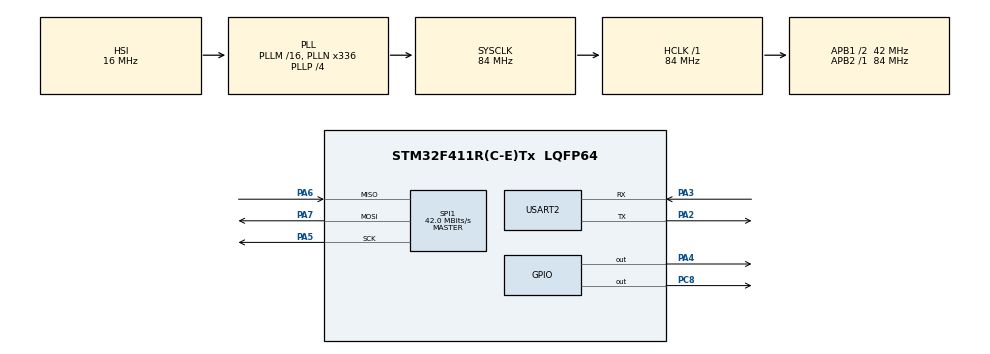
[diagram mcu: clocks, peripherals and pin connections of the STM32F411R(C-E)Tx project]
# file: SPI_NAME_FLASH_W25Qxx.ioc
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Mcu.Family=STM32F4
Mcu.Name=STM32F411R(C-E)Tx
Mcu.Package=LQFP64
NVIC.PriorityGroup=NVIC_PRIORITYGROUP_0
PA2.Mode=Asynchronous
PA2.Signal=USART2_TX
PA3.Mode=Asynchronous
PA3.Signal=USART2_RX
PA4.Signal=GPIO_Output
PA5.Mode=Full_Duplex_Master
PA5.Signal=SPI1_SCK
PA6.Mode=Full_Duplex_Master
PA6.Signal=SPI1_MISO
PA7.Mode=Full_Duplex_Master
PA7.Signal=SPI1_MOSI
PC14-OSC32_IN.Mode=LSE-External-Oscillator
PC14-OSC32_IN.Signal=RCC_OSC32_IN
PC15-OSC32_OUT.Mode=LSE-External-Oscillator
PC15-OSC32_OUT.Signal=RCC_OSC32_OUT
PC8.Signal=GPIO_Output
ProjectManager.HeapSize=0x200
ProjectManager.StackSize=0x400
ProjectManager.TargetToolchain=STM32CubeIDE
RCC.48MHZClocksFreq_Value=84000000
RCC.AHBFreq_Value=84000000
RCC.APB1CLKDivider=RCC_HCLK_DIV2
RCC.APB1Freq_Value=42000000
RCC.APB1TimFreq_Value=84000000
RCC.APB2Freq_Value=84000000
RCC.APB2TimFreq_Value=84000000
RCC.CortexFreq_Value=84000000
RCC.FLatency-AdvancedSettings=FLASH_LATENCY_2
RCC.HCLKFreq_Value=84000000
RCC.HSE_VALUE=8000000
RCC.HSI_VALUE=16000000
RCC.PLLN=336
RCC.PLLP=RCC_PLLP_DIV4
RCC.SYSCLKFreq_VALUE=84000000
RCC.SYSCLKSource=RCC_SYSCLKSOURCE_PLLCLK
RCC.VCOOutputFreq_Value=336000000
SPI1.CalculateBaudRate=42.0 MBits/s
SPI1.Direction=SPI_DIRECTION_2LINES
SPI1.Mode=SPI_MODE_MASTER
SPI1.VirtualType=VM_MASTER
USART2.VirtualMode=VM_ASYNC
board=NUCLEO-F411RE

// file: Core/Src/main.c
/* USER CODE BEGIN Header */
/**
 ******************************************************************************
 * @file           : main.c
 * @brief          : Main program body
 ******************************************************************************
 * @attention
 *
 * Copyright (c) 2023 STMicroelectronics.
 * All rights reserved.
 *
 * Published By : Sandesh Kale
 * Github       : github/JAGAHPEE
 *
 * This software is licensed under terms that can be found in the LICENSE file
 * in the root directory of this software component.
 * If no LICENSE file comes with this software, it is provided AS-IS.
 *
 ******************************************************************************
 */
/* USER CODE END Header */
#include "main.h"

/* USER CODE BEGIN Includes */
#include "w25qxx.h"
#include "string.h"
/* USER CODE END Includes */

SPI_HandleTypeDef hspi1;

UART_HandleTypeDef huart2;

/* USER CODE BEGIN PV */
uint8_t name[]  = "Sandesh Kale\n";
uint8_t str[20];
uint8_t buffer[20];
uint32_t length = 0;
/* USER CODE END PV */

void SystemClock_Config(void);
static void MX_GPIO_Init(void);
static void MX_SPI1_Init(void);
static void MX_USART2_UART_Init(void);

/* USER CODE BEGIN 0 */
uint8_t uart_check()
{
	uint8_t buff;
	HAL_UART_Transmit(&huart2, (uint8_t*)"\n\rReady: ", 8, 10);
	HAL_UART_Receive(&huart2, &buff, 1, 1000);
	if(buff == '1')
	{
		return 1;
	}
	return 0;
}
void uart_receive(uint8_t str[],uint8_t length)
{
	uint8_t buff[1],i=0;
	HAL_UART_Receive(&huart2, buff, 1, 5000);
	str[i] = buff[0];
	while((str[i]!='2')&&i<length-1&&(str[i]!=13))
	{
		HAL_UART_Receive(&huart2, buff, 1, 2000);
		str[++i] = buff[0];
	}
	if(i==0)
	{
		HAL_UART_Transmit(&huart2, (uint8_t*)"\n\rNo Data Received..\n\r",19 ,10);
		return;
	}
	str[i] = '\0';
	return;
}
uint32_t length_of_string(uint8_t str[])
{
	uint8_t i=0;
	while(str[i]!='\0')
	{
		i++;
	}
	return i;
}
/* USER CODE END 0 */

int main(void)
{

	/* MCU Configuration--------------------------------------------------------*/

	/* Reset of all peripherals, Initializes the Flash interface and the Systick. */
	HAL_Init();

	/* Configure the system clock */
	SystemClock_Config();

	/* Initialize all configured peripherals */
	MX_GPIO_Init();
	MX_SPI1_Init();
	MX_USART2_UART_Init();
	/* USER CODE BEGIN 2 */
	W25qxx_Init();
	W25qxx_EraseSector(0);
	//	W25qxx_WriteSector(name, 0, 0, sizeof(name));
	//	W25qxx_ReadSector(buffer,0, 0, sizeof(name));
	//	HAL_UART_Transmit(&huart2, buffer, sizeof(buffer),10);
	/* USER CODE END 2 */

	/* Infinite loop */
	while (1)
	{

		/* USER CODE BEGIN 3 */
		if(uart_check())
		{
			HAL_UART_Transmit(&huart2, (uint8_t*)"\n\rType: ", 7, 10);
			uart_receive(str,sizeof(str));
			//			length = strlen(str);
			length = length_of_string(str);
			W25qxx_EraseSector(0);
			W25qxx_WriteSector(str, 0, 0, length_of_string(str));
			W25qxx_ReadSector(buffer,0, 0, length_of_string(str));
			HAL_UART_Transmit(&huart2, (uint8_t*)"\n\rData Read from Flash: ", 24, 10);
			HAL_UART_Transmit(&huart2, buffer, length_of_string(buffer), 100);
			HAL_GPIO_TogglePin(GPIOC, GPIO_PIN_8);
		}
		HAL_Delay(1000);
	}
	/* USER CODE END 3 */
}

void SystemClock_Config(void)
{
	RCC_OscInitTypeDef RCC_OscInitStruct = {0};
	RCC_ClkInitTypeDef RCC_ClkInitStruct = {0};

	/** Configure the main internal regulator output voltage
	 */
	__HAL_RCC_PWR_CLK_ENABLE();
	__HAL_PWR_VOLTAGESCALING_CONFIG(PWR_REGULATOR_VOLTAGE_SCALE1);

	/** Initializes the RCC Oscillators according to the specified parameters
	 * in the RCC_OscInitTypeDef structure.
	 */
	RCC_OscInitStruct.OscillatorType = RCC_OSCILLATORTYPE_HSI;
	RCC_OscInitStruct.HSIState = RCC_HSI_ON;
	RCC_OscInitStruct.HSICalibrationValue = RCC_HSICALIBRATION_DEFAULT;
	RCC_OscInitStruct.PLL.PLLState = RCC_PLL_ON;
	RCC_OscInitStruct.PLL.PLLSource = RCC_PLLSOURCE_HSI;
	RCC_OscInitStruct.PLL.PLLM = 16;
	RCC_OscInitStruct.PLL.PLLN = 336;
	RCC_OscInitStruct.PLL.PLLP = RCC_PLLP_DIV4;
	RCC_OscInitStruct.PLL.PLLQ = 4;
	if (HAL_RCC_OscConfig(&RCC_OscInitStruct) != HAL_OK)
	{
		Error_Handler();
	}

	/** Initializes the CPU, AHB and APB buses clocks
	 */
	RCC_ClkInitStruct.ClockType = RCC_CLOCKTYPE_HCLK|RCC_CLOCKTYPE_SYSCLK
			|RCC_CLOCKTYPE_PCLK1|RCC_CLOCKTYPE_PCLK2;
	RCC_ClkInitStruct.SYSCLKSource = RCC_SYSCLKSOURCE_PLLCLK;
	RCC_ClkInitStruct.AHBCLKDivider = RCC_SYSCLK_DIV1;
	RCC_ClkInitStruct.APB1CLKDivider = RCC_HCLK_DIV2;
	RCC_ClkInitStruct.APB2CLKDivider = RCC_HCLK_DIV1;

	if (HAL_RCC_ClockConfig(&RCC_ClkInitStruct, FLASH_LATENCY_2) != HAL_OK)
	{
		Error_Handler();
	}
}

static void MX_SPI1_Init(void)
{

	/* SPI1 parameter configuration*/
	hspi1.Instance = SPI1;
	hspi1.Init.Mode = SPI_MODE_MASTER;
	hspi1.Init.Direction = SPI_DIRECTION_2LINES;
	hspi1.Init.DataSize = SPI_DATASIZE_8BIT;
	hspi1.Init.CLKPolarity = SPI_POLARITY_LOW;
	hspi1.Init.CLKPhase = SPI_PHASE_1EDGE;
	hspi1.Init.NSS = SPI_NSS_SOFT;
	hspi1.Init.BaudRatePrescaler = SPI_BAUDRATEPRESCALER_2;
	hspi1.Init.FirstBit = SPI_FIRSTBIT_MSB;
	hspi1.Init.TIMode = SPI_TIMODE_DISABLE;
	hspi1.Init.CRCCalculation = SPI_CRCCALCULATION_DISABLE;
	hspi1.Init.CRCPolynomial = 10;
	if (HAL_SPI_Init(&hspi1) != HAL_OK)
	{
		Error_Handler();
	}

}

static void MX_USART2_UART_Init(void)
{

	huart2.Instance = USART2;
	huart2.Init.BaudRate = 115200;
	huart2.Init.WordLength = UART_WORDLENGTH_8B;
	huart2.Init.StopBits = UART_STOPBITS_1;
	huart2.Init.Parity = UART_PARITY_NONE;
	huart2.Init.Mode = UART_MODE_TX_RX;
	huart2.Init.HwFlowCtl = UART_HWCONTROL_NONE;
	huart2.Init.OverSampling = UART_OVERSAMPLING_16;
	if (HAL_UART_Init(&huart2) != HAL_OK)
	{
		Error_Handler();
	}

}

static void MX_GPIO_Init(void)
{
	GPIO_InitTypeDef GPIO_InitStruct = {0};

	/* GPIO Ports Clock Enable */
	__HAL_RCC_GPIOC_CLK_ENABLE();
	__HAL_RCC_GPIOA_CLK_ENABLE();

	/*Configure GPIO pin Output Level */
	HAL_GPIO_WritePin(GPIOA, GPIO_PIN_4, GPIO_PIN_RESET);

	/*Configure GPIO pin Output Level */
	HAL_GPIO_WritePin(GPIOC, GPIO_PIN_8, GPIO_PIN_RESET);

	/*Configure GPIO pin : PA4 */
	GPIO_InitStruct.Pin = GPIO_PIN_4;
	GPIO_InitStruct.Mode = GPIO_MODE_OUTPUT_PP;
	GPIO_InitStruct.Pull = GPIO_NOPULL;
	GPIO_InitStruct.Speed = GPIO_SPEED_FREQ_LOW;
	HAL_GPIO_Init(GPIOA, &GPIO_InitStruct);

	/*Configure GPIO pin : PC8 */
	GPIO_InitStruct.Pin = GPIO_PIN_8;
	GPIO_InitStruct.Mode = GPIO_MODE_OUTPUT_PP;
	GPIO_InitStruct.Pull = GPIO_NOPULL;
	GPIO_InitStruct.Speed = GPIO_SPEED_FREQ_LOW;
	HAL_GPIO_Init(GPIOC, &GPIO_InitStruct);

}

void Error_Handler(void)
{
	__disable_irq();
	while (1)
	{
	}
}
